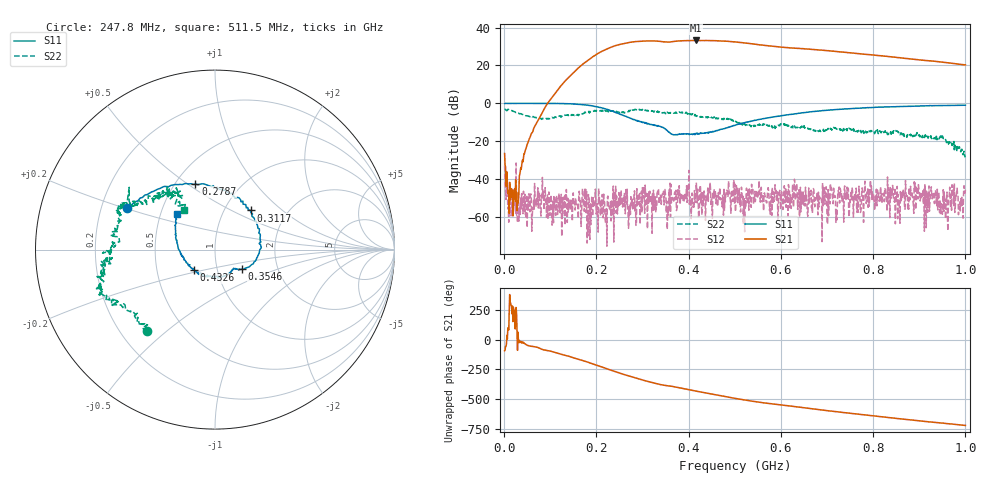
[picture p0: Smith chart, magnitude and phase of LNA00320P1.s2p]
! Created with skrf 1.9.0 (http://scikit-rf.org).
# Hz S RI R 50.0
!freq ReS11 ImS11 ReS21 ImS21 ReS12 ImS12 ReS22 ImS22
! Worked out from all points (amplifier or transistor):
!   1001 points, 1 MHz to 1 GHz, reference 50 ohm
!   highest |S21| = 33.2 dB at 416.6 MHz (marker M1)
!   |S21| within 3 dB of that: 237.8 MHz to 579.1 MHz (341.3 MHz wide, 83.6 % of centre)
!   unconditionally stable (mu >= 1): start of sweep to 57.32 MHz; 299.9 MHz to 400 MHz; 401 MHz to end of sweep (the widest 3 of 24)
!   at 166.8 MHz: K = 9.08, MAG = 29.8 dB, |S12| = -64.9 dB
!   at 500.5 MHz: K = 1.52, MAG = 33.3 dB, |S12| = -42.6 dB
!   at 1 GHz: K = 1.93, MAG = 27.4 dB, |S12| = -45.6 dB
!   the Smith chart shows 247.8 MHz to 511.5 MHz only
!   S11 on the Smith chart (normalised r, x): 247.8 MHz: 0.31, +0.20; 278.7 MHz: 0.63, +0.54; 311.7 MHz: 1.32, +0.63; 354.6 MHz: 1.31, -0.30; 432.6 MHz: 0.77, -0.18; 511.5 MHz: 0.61, +0.26
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1000000  0.9854 0.0103  -0.00272 -0.0473  -0.0226 0.00219  -0.6981 0.0293
1.1089e8  0.4852 -0.8732  -0.5843 -1.738  -0.000657 0.00104  0.433 -0.0551
1.67833e8  -0.267 -0.886  -10.08 -1.351  -0.000455 -0.00111  0.1034 -0.5385
2.1079e8  -0.6897 -0.331  -15.55 17.21  -0.00255 -0.00139  -0.2122 -0.6156
2.28772e8  -0.6581 -0.0272  -8.674 27.6  -0.000193 -0.00187  -0.2864 -0.5893
2.47753e8  -0.4878 0.2292  4.32 34.88  -0.00109 -0.00164  -0.3801 -0.4562
2.78722e8  -0.1088 0.3671  29.26 29.49  -0.000924 0.00136  -0.6072 -0.2848
3.11689e8  0.1982 0.218  43.44 7.237  -0.00091 0.00395  -0.6348 -0.129
3.34666e8  0.258 0.0103  42.35 -9.84  -0.00287 0.00481  -0.5738 -0.0235
3.54646e8  0.1496 -0.1089  36.63 -18.81  -0.00138 0.000212  -0.5586 0.1009
3.79621e8  0.0884 -0.1286  32.1 -30.47  0.000568 0.00669  -0.5451 0.2412
4.16584e8  -0.0657 -0.1491  14.04 -43.34  0.00591 0.00554  -0.3799 0.2468
4.32568e8  -0.1156 -0.1141  4.9 -45.11  0.00298 0.0024  -0.3303 0.3046
4.63537e8  -0.1937 -0.0145  -12.31 -42.88  0.00118 0.00226  -0.2585 0.3117
5.005e8  -0.2153 0.1489  -28.14 -31.01  0.00348 -0.0065  -0.2215 0.2546
5.11489e8  -0.2125 0.1982  -30.74 -26.14  0.00244 0.00297  -0.174 0.2179
5.4046e8  -0.1469 0.3183  -33.97 -13.97  0.000959 0.00195  -0.1512 0.2113
5.81419e8  0.0051 0.4334  -32.06 -0.5517  0.00603 0.000681  -0.129 0.1895
6.67333e8  0.3688 0.4752  -20.28 16.79  -0.000576 -0.00216  -0.0951 0.1846
7.38262e8  0.6193 0.3352  -6.709 21.15  0.000945 -0.00655  -0.0465 0.1989
8.34166e8  0.8044 0.0197  6.937 15.66  -9.91e-05 -0.00393  -0.0237 0.1602
1e9  0.7179 -0.5281  10.35 0.0866  -0.00119 -0.00509  0.0318 0.0205
